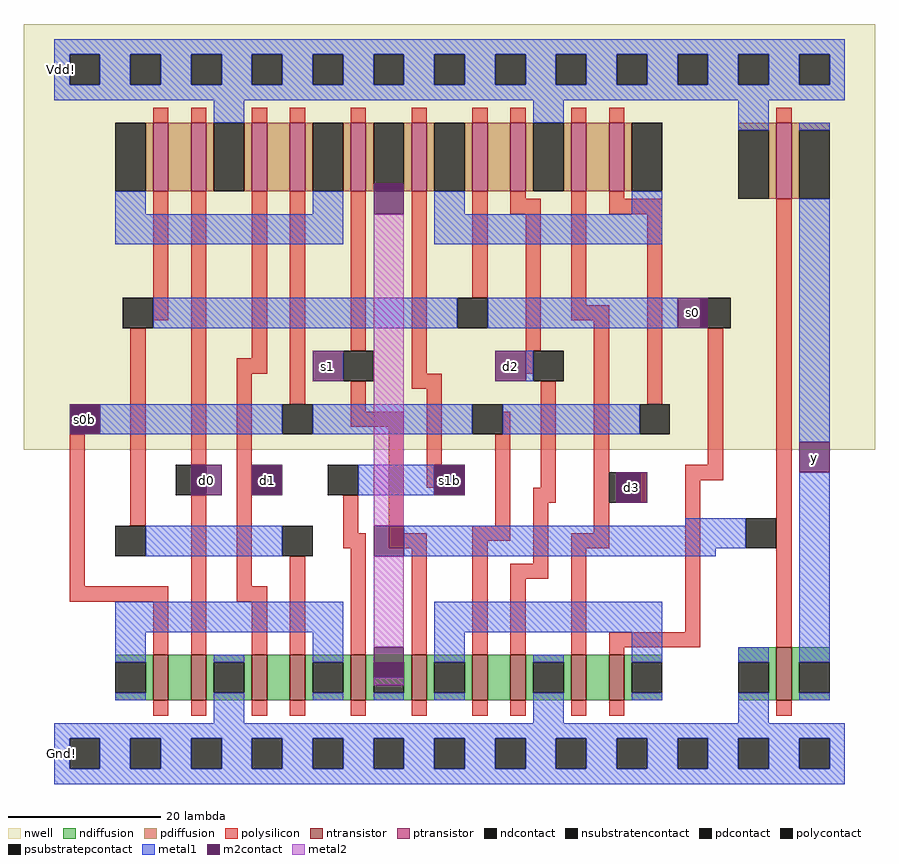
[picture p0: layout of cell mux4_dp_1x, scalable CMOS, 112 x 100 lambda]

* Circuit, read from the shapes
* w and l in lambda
.subckt mux4_dp_1x Gnd! Vdd! d0 d1 d2 d3 s0 s0b s1 s1b y
M1 n1 s0b n2 Gnd! nfet w=6 l=2
M2 Gnd! d0 n1 Gnd! nfet w=6 l=2
M3 n3 d1 Gnd! Gnd! nfet w=6 l=2
M4 n2 s0 n3 Gnd! nfet w=6 l=2
M5 n4 s1b n2 Gnd! nfet w=6 l=2
M6 n5 s1 n4 Gnd! nfet w=6 l=2
M7 n6 s0b n5 Gnd! nfet w=6 l=2
M8 Gnd! d2 n6 Gnd! nfet w=6 l=2
M9 n7 d3 Gnd! Gnd! nfet w=6 l=2
M10 n5 s0 n7 Gnd! nfet w=6 l=2
M11 y n4 Gnd! Gnd! nfet w=7 l=2
M12 n8 s0 n9 Vdd! pfet w=9 l=2
M13 Vdd! d0 n8 Vdd! pfet w=9 l=2
M14 n10 d1 Vdd! Vdd! pfet w=9 l=2
M15 n9 s0b n10 Vdd! pfet w=9 l=2
M16 n4 s1 n9 Vdd! pfet w=9 l=2
M17 n11 s1b n4 Vdd! pfet w=9 l=2
M18 n12 s0 n11 Vdd! pfet w=9 l=2
M19 Vdd! d2 n12 Vdd! pfet w=9 l=2
M20 n13 d3 Vdd! Vdd! pfet w=9 l=2
M21 n11 s0b n13 Vdd! pfet w=9 l=2
M22 y n4 Vdd! Vdd! pfet w=10 l=2
.ends

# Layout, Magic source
magic
tech scmos
<< nwell >>
rect -6 40 106 96
<< ntransistor >>
rect 11 7 13 13
rect 16 7 18 13
rect 24 7 26 13
rect 29 7 31 13
rect 37 7 39 13
rect 45 7 47 13
rect 53 7 55 13
rect 58 7 60 13
rect 66 7 68 13
rect 71 7 73 13
rect 93 7 95 14
<< ptransistor >>
rect 11 74 13 83
rect 16 74 18 83
rect 24 74 26 83
rect 29 74 31 83
rect 37 74 39 83
rect 45 74 47 83
rect 53 74 55 83
rect 58 74 60 83
rect 66 74 68 83
rect 71 74 73 83
rect 93 73 95 83
<< ndiffusion >>
rect 6 12 11 13
rect 10 8 11 12
rect 6 7 11 8
rect 13 7 16 13
rect 18 12 24 13
rect 18 8 19 12
rect 23 8 24 12
rect 18 7 24 8
rect 26 7 29 13
rect 31 12 37 13
rect 31 8 32 12
rect 36 8 37 12
rect 31 7 37 8
rect 39 12 45 13
rect 39 8 40 12
rect 44 8 45 12
rect 39 7 45 8
rect 47 12 53 13
rect 47 8 48 12
rect 52 8 53 12
rect 47 7 53 8
rect 55 7 58 13
rect 60 12 66 13
rect 60 8 61 12
rect 65 8 66 12
rect 60 7 66 8
rect 68 7 71 13
rect 73 12 78 13
rect 73 8 74 12
rect 73 7 78 8
rect 88 12 93 14
rect 92 8 93 12
rect 88 7 93 8
rect 95 12 100 14
rect 95 8 96 12
rect 95 7 100 8
<< pdiffusion >>
rect 10 74 11 83
rect 13 74 16 83
rect 18 74 19 83
rect 23 74 24 83
rect 26 74 29 83
rect 31 74 32 83
rect 36 74 37 83
rect 39 74 40 83
rect 44 74 45 83
rect 47 74 48 83
rect 52 74 53 83
rect 55 74 58 83
rect 60 74 61 83
rect 65 74 66 83
rect 68 74 71 83
rect 73 74 74 83
rect 88 82 93 83
rect 92 73 93 82
rect 95 82 100 83
rect 95 73 96 82
<< ndcontact >>
rect 6 8 10 12
rect 19 8 23 12
rect 32 8 36 12
rect 40 8 44 12
rect 48 8 52 12
rect 61 8 65 12
rect 74 8 78 12
rect 88 8 92 12
rect 96 8 100 12
<< pdcontact >>
rect 6 74 10 83
rect 19 74 23 83
rect 32 74 36 83
rect 40 74 44 83
rect 48 74 52 83
rect 61 74 65 83
rect 74 74 78 83
rect 88 73 92 82
rect 96 73 100 82
<< psubstratepcontact >>
rect 0 -2 4 2
rect 8 -2 12 2
rect 16 -2 20 2
rect 24 -2 28 2
rect 32 -2 36 2
rect 40 -2 44 2
rect 48 -2 52 2
rect 56 -2 60 2
rect 64 -2 68 2
rect 72 -2 76 2
rect 80 -2 84 2
rect 88 -2 92 2
rect 96 -2 100 2
<< nsubstratencontact >>
rect 0 88 4 92
rect 8 88 12 92
rect 16 88 20 92
rect 24 88 28 92
rect 32 88 36 92
rect 40 88 44 92
rect 48 88 52 92
rect 56 88 60 92
rect 64 88 68 92
rect 72 88 76 92
rect 80 88 84 92
rect 88 88 92 92
rect 96 88 100 92
<< polysilicon >>
rect 11 83 13 85
rect 16 83 18 85
rect 24 83 26 85
rect 29 83 31 85
rect 37 83 39 85
rect 45 83 47 85
rect 53 83 55 85
rect 58 83 60 85
rect 66 83 68 85
rect 71 83 73 85
rect 93 83 95 85
rect 11 57 13 74
rect 0 22 2 42
rect 8 30 10 56
rect 16 38 18 74
rect 24 52 26 74
rect 0 20 13 22
rect 11 13 13 20
rect 16 13 18 34
rect 22 50 26 52
rect 22 22 24 50
rect 29 46 31 74
rect 37 53 39 74
rect 45 50 47 74
rect 53 60 55 74
rect 58 73 60 74
rect 58 71 62 73
rect 60 53 62 71
rect 66 59 68 74
rect 71 73 73 74
rect 71 71 78 73
rect 66 57 71 59
rect 60 50 61 53
rect 37 45 39 49
rect 45 48 49 50
rect 37 43 44 45
rect 36 29 38 34
rect 42 29 44 43
rect 47 38 49 48
rect 57 42 58 45
rect 47 35 48 38
rect 56 30 58 42
rect 62 35 64 49
rect 36 27 39 29
rect 42 27 47 29
rect 22 20 26 22
rect 24 13 26 20
rect 29 13 31 26
rect 37 13 39 27
rect 45 13 47 27
rect 53 28 58 30
rect 61 33 64 35
rect 53 13 55 28
rect 61 25 63 33
rect 69 29 71 57
rect 76 46 78 71
rect 84 38 86 56
rect 75 33 76 37
rect 81 36 86 38
rect 58 23 63 25
rect 66 27 71 29
rect 58 13 60 23
rect 66 13 68 27
rect 81 16 83 36
rect 71 14 83 16
rect 93 14 95 73
rect 71 13 73 14
rect 11 5 13 7
rect 16 5 18 7
rect 24 5 26 7
rect 29 5 31 7
rect 37 5 39 7
rect 45 5 47 7
rect 53 5 55 7
rect 58 5 60 7
rect 66 5 68 7
rect 71 5 73 7
rect 93 5 95 7
<< polycontact >>
rect 7 56 11 60
rect 0 42 4 46
rect 14 34 18 38
rect 6 26 10 30
rect 36 49 40 53
rect 51 56 55 60
rect 28 42 32 46
rect 61 49 65 53
rect 24 34 28 38
rect 34 34 38 38
rect 28 26 32 30
rect 53 42 57 46
rect 48 34 52 38
rect 83 56 87 60
rect 75 42 79 46
rect 71 33 75 37
rect 89 27 93 31
<< metal1 >>
rect -2 92 102 94
rect -2 88 0 92
rect 4 88 8 92
rect 12 88 16 92
rect 20 88 24 92
rect 28 88 32 92
rect 36 88 40 92
rect 44 88 48 92
rect 52 88 56 92
rect 60 88 64 92
rect 68 88 72 92
rect 76 88 80 92
rect 84 88 88 92
rect 92 88 96 92
rect 100 88 102 92
rect -2 86 102 88
rect 19 83 23 86
rect 61 83 65 86
rect 6 71 10 74
rect 32 71 36 74
rect 48 71 52 74
rect 74 71 78 74
rect 88 82 92 86
rect 96 82 100 83
rect 6 67 36 71
rect 48 67 78 71
rect 11 56 51 60
rect 55 56 80 60
rect 60 49 61 53
rect 4 42 28 46
rect 32 42 53 46
rect 57 42 75 46
rect 96 41 100 73
rect 38 34 48 38
rect 81 30 89 31
rect 10 26 28 30
rect 44 27 89 30
rect 44 26 85 27
rect 6 16 36 20
rect 6 12 10 16
rect 6 7 10 8
rect 19 12 23 13
rect 19 4 23 8
rect 32 12 36 16
rect 48 16 78 20
rect 32 7 36 8
rect 40 7 44 8
rect 48 12 52 16
rect 48 7 52 8
rect 61 12 65 13
rect 61 4 65 8
rect 74 12 78 16
rect 74 7 78 8
rect 88 12 92 14
rect 88 4 92 8
rect 96 12 100 37
rect 96 7 100 8
rect -2 2 102 4
rect -2 -2 0 2
rect 4 -2 8 2
rect 12 -2 16 2
rect 20 -2 24 2
rect 28 -2 32 2
rect 36 -2 40 2
rect 44 -2 48 2
rect 52 -2 56 2
rect 60 -2 64 2
rect 68 -2 72 2
rect 76 -2 80 2
rect 84 -2 88 2
rect 92 -2 96 2
rect 100 -2 102 2
rect -2 -4 102 -2
<< m2contact >>
rect 40 74 44 75
rect 40 71 44 74
rect 80 56 83 60
rect 83 56 84 60
rect 32 49 36 53
rect 56 49 60 53
rect 0 42 4 46
rect 16 34 18 38
rect 18 34 20 38
rect 24 34 28 38
rect 48 34 52 38
rect 96 37 100 41
rect 72 33 75 37
rect 75 33 76 37
rect 40 26 44 30
rect 40 12 44 14
rect 40 10 44 12
<< metal2 >>
rect 40 30 44 71
rect 40 14 44 26
rect 40 9 44 10
<< labels >>
rlabel metal1 -1 0 -1 0 3 Gnd!
rlabel m2contact 2 44 2 44 1 s0b
rlabel m2contact 18 36 18 36 1 d0
rlabel m2contact 26 36 26 36 1 d1
rlabel m2contact 34 51 34 51 1 s1
rlabel metal1 -1 90 -1 90 3 Vdd!
rlabel m2contact 58 51 58 51 1 d2
rlabel m2contact 82 58 82 58 1 s0
rlabel m2contact 98 39 98 39 1 y
rlabel m2contact 74 35 74 35 1 d3
rlabel m2contact 50 36 50 36 1 s1b
<< end >>
